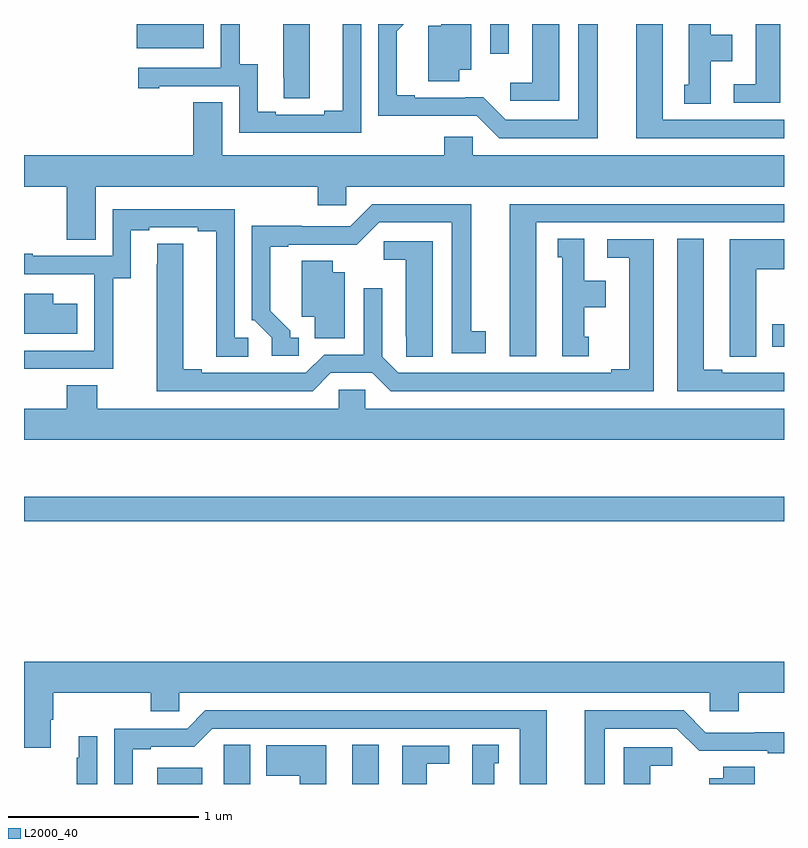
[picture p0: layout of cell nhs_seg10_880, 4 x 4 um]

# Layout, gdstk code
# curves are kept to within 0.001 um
import gdstk
lib = gdstk.Library(unit=1e-6, precision=1e-09)
def R(c, l, rs):  # rectangles x0, y0, x1, y1
    for r in rs: c.add(gdstk.rectangle(r[:2], r[2:], *l))
def P(c, l, *ps):  # polygons
    for p in ps: c.add(gdstk.Polygon(p, *l))
L2000_40 = (2000, 40)

nhs_seg10_880 = lib.new_cell('nhs_seg10_880')
R(nhs_seg10_880, L2000_40, [(155.702,1302.5,155.938,1302.586), (156.728,1302.5,156.868,1302.707), (155,1303.882,159,1304.011), (158.939,1304.802,159,1304.919), (157.455,1306.344,157.551,1306.5), (155.594,1306.373,155.947,1306.5)])
P(nhs_seg10_880, L2000_40, [(157.816,1306.5),(157.676,1306.5),(157.676,1306.192),(157.56,1306.192),(157.56,1306.095),(157.816,1306.095)],
  [(159,1305.996),(158.362,1305.996),(158.362,1306.5),(158.222,1306.5),(158.222,1305.9),(159,1305.9)],
  [(156.774,1306.5),(156.677,1306.5),(156.677,1306.043),(156.581,1306.043),(156.581,1306.023),(156.325,1306.023),(156.325,1306.038),(156.229,1306.038),(156.229,1306.289),(156.135,1306.289),(156.135,1306.5),(156.036,1306.5),(156.036,1306.269),(155.601,1306.269),(155.601,1306.161),(155.713,1306.161),(155.713,1306.173),(156.132,1306.173),(156.132,1305.927),(156.774,1305.927)],
  [(157.291,1306.259),(157.354,1306.259),(157.354,1306.5),(157.196,1306.5),(157.196,1306.492),(157.127,1306.492),(157.127,1306.198),(157.291,1306.198)],
  [(158.02,1306.5),(157.916,1306.5),(157.916,1305.996),(157.536,1305.996),(157.418,1306.114),(157.057,1306.113),(157.057,1306.126),(156.961,1306.126),(156.961,1306.462),(156.999,1306.5),(156.864,1306.5),(156.864,1306.016),(157.383,1306.017),(157.5,1305.9),(158.02,1305.9)],
  [(156.505,1306.5),(156.365,1306.5),(156.365,1306.216),(156.366,1306.216),(156.366,1306.108),(156.505,1306.108)],
  [(158.98,1306.5),(158.852,1306.5),(158.852,1306.182),(158.736,1306.182),(158.736,1306.086),(158.98,1306.086)],
  [(158.614,1306.304),(158.728,1306.304),(158.728,1306.444),(158.614,1306.444),(158.614,1306.5),(158.498,1306.5),(158.498,1306.179),(158.474,1306.179),(158.474,1306.081),(158.614,1306.081)],
  [(155.377,1305.644),(156.545,1305.644),(156.545,1305.546),(156.696,1305.546),(156.696,1305.644),(159,1305.644),(159,1305.808),(157.362,1305.808),(157.362,1305.906),(157.211,1305.906),(157.211,1305.808),(156.043,1305.808),(156.043,1306.088),(155.891,1306.088),(155.891,1305.808),(155,1305.808),(155,1305.644),(155.225,1305.644),(155.225,1305.364),(155.377,1305.364)],
  [(157.696,1305.456),(159,1305.456),(159,1305.552),(157.556,1305.552),(157.556,1304.751),(157.696,1304.751)],
  [(156.445,1304.85),(156.4,1304.85),(156.4,1304.885),(156.295,1304.99),(156.295,1305.327),(156.391,1305.327),(156.391,1305.339),(156.752,1305.338),(156.87,1305.456),(157.25,1305.456),(157.25,1304.766),(157.429,1304.766),(157.429,1304.882),(157.354,1304.882),(157.354,1305.552),(156.834,1305.552),(156.717,1305.435),(156.461,1305.435),(156.461,1305.437),(156.198,1305.437),(156.198,1304.94),(156.213,1304.94),(156.303,1304.85),(156.303,1304.754),(156.445,1304.754)],
  [(155.469,1305.163),(155.563,1305.163),(155.563,1305.414),(155.659,1305.414),(155.659,1305.429),(155.915,1305.429),(155.915,1305.409),(156.011,1305.409),(156.011,1304.749),(156.181,1304.749),(156.181,1304.85),(156.108,1304.85),(156.108,1305.525),(155.466,1305.525),(155.466,1305.279),(155.047,1305.279),(155.047,1305.292),(155,1305.292),(155,1305.183),(155.369,1305.183),(155.369,1305.182),(155.37,1305.182),(155.37,1304.781),(155,1304.781),(155,1304.685),(155.469,1304.685)],
  [(159,1304.665),(158.95,1304.665),(158.95,1304.664),(158.674,1304.664),(158.674,1304.679),(158.578,1304.679),(158.578,1305.371),(158.438,1305.371),(158.438,1304.568),(159,1304.568)],
  [(157.972,1304.853),(157.948,1304.853),(157.948,1305.008),(158.062,1305.008),(158.062,1305.148),(157.948,1305.148),(157.948,1305.371),(157.808,1305.371),(157.808,1305.273),(157.832,1305.273),(157.832,1304.751),(157.972,1304.751)],
  [(158.854,1305.208),(159,1305.208),(159,1305.367),(158.714,1305.367),(158.714,1304.857),(158.715,1304.857),(158.715,1304.749),(158.854,1304.749)],
  [(156.615,1304.664),(156.833,1304.664),(156.929,1304.568),(158.314,1304.568),(158.314,1305.366),(158.07,1305.366),(158.07,1305.27),(158.186,1305.27),(158.186,1304.684),(158.09,1304.684),(158.09,1304.664),(156.969,1304.664),(156.885,1304.748),(156.885,1305.109),(156.789,1305.109),(156.789,1304.76),(156.579,1304.76),(156.483,1304.664),(155.935,1304.664),(155.935,1304.684),(155.839,1304.684),(155.839,1305.344),(155.7,1305.344),(155.699,1304.568),(156.519,1304.568)],
  [(157.15,1305.357),(156.894,1305.357),(156.894,1305.26),(157.01,1305.26),(157.01,1304.857),(157.011,1304.857),(157.011,1304.749),(157.15,1304.749)],
  [(156.688,1305.193),(156.625,1305.193),(156.625,1305.254),(156.461,1305.254),(156.461,1304.96),(156.53,1304.96),(156.53,1304.845),(156.688,1304.845)],
  [(155.281,1305.028),(155.155,1305.028),(155.155,1305.079),(155,1305.079),(155,1304.87),(155.281,1304.87)],
  [(159,1304.476),(156.795,1304.476),(156.795,1304.574),(156.657,1304.574),(156.657,1304.476),(155.385,1304.476),(155.385,1304.6),(155.225,1304.6),(155.225,1304.476),(155,1304.476),(155,1304.312),(159,1304.312)],
  [(155.14,1302.838),(155.153,1302.838),(155.153,1302.98),(155.666,1302.98),(155.666,1302.882),(155.817,1302.882),(155.817,1302.98),(158.61,1302.98),(158.61,1302.882),(158.762,1302.882),(158.762,1302.98),(159,1302.98),(159,1303.144),(155,1303.144),(155,1302.69),(155.14,1302.69)],
  [(155.572,1302.684),(155.668,1302.684),(155.668,1302.696),(155.895,1302.696),(155.991,1302.792),(157.61,1302.792),(157.61,1302.5),(157.75,1302.5),(157.75,1302.888),(155.955,1302.888),(155.859,1302.792),(155.475,1302.792),(155.475,1302.5),(155.572,1302.5)],
  [(158.056,1302.792),(158.436,1302.792),(158.554,1302.674),(158.915,1302.675),(158.915,1302.663),(159,1302.663),(159,1302.773),(158.845,1302.773),(158.845,1302.771),(158.589,1302.771),(158.472,1302.888),(157.952,1302.888),(157.952,1302.5),(158.056,1302.5)],
  [(155.385,1302.751),(155.288,1302.751),(155.288,1302.638),(155.277,1302.638),(155.277,1302.5),(155.385,1302.5)],
  [(156.19,1302.707),(156.051,1302.707),(156.051,1302.596),(156.05,1302.596),(156.05,1302.5),(156.19,1302.5)],
  [(157.474,1302.609),(157.498,1302.609),(157.498,1302.707),(157.358,1302.707),(157.358,1302.5),(157.474,1302.5)],
  [(156.592,1302.703),(156.275,1302.703),(156.275,1302.544),(156.452,1302.544),(156.452,1302.5),(156.592,1302.5)],
  [(157.12,1302.606),(157.237,1302.606),(157.237,1302.702),(156.992,1302.702),(156.992,1302.5),(157.12,1302.5)],
  [(158.296,1302.596),(158.413,1302.596),(158.413,1302.693),(158.156,1302.693),(158.156,1302.5),(158.296,1302.5)],
  [(158.845,1302.59),(158.681,1302.59),(158.681,1302.529),(158.606,1302.529),(158.606,1302.5),(158.845,1302.5)])

lib.write_gds('nhs_seg10_880.gds')
